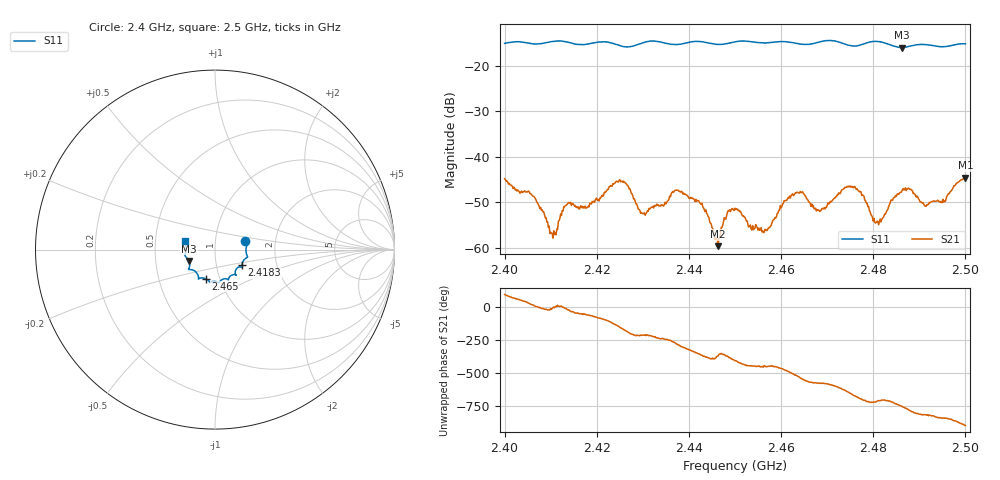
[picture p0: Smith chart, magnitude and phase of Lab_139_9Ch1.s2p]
# Hz S RI R 50
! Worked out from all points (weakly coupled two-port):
!   601 points, 2.4 GHz to 2.5 GHz, reference 50 ohm
!   highest |S21| = -44.62 dB at 2.5 GHz (marker M1); lowest = -59.7 dB at 2.4463 GHz (marker M2)
!   lowest |S11| = -16.0 dB at 2.4862 GHz (marker M3), VSWR 1.37, Z = 37.1 - j4.81 ohm
!   |S11| at or under -10 dB: start of sweep to end of sweep
!   S12 and S22 are empty: the file has one direction only
!   S11 on the Smith chart (normalised r, x): 2.4 GHz: 1.40, +0.13; 2.4183 GHz: 1.33, -0.24; 2.465 GHz: 0.86, -0.29; 2.5 GHz: 0.71, +0.07
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2.4e9  0.1691 0.0456  -0.000435 0.00569  0 0  0 0
2.406167e9  0.1729 0.00665  0.00355 0.000961  0 0  0 0
2.410333e9  0.1798 -0.0365  0.00141 -0.000218  0 0  0 0
2.413333e9  0.1768 -0.045  0.00285 -0.000597  0 0  0 0
2.416667e9  0.155 -0.0683  0.00167 -0.00221  0 0  0 0
2.418333e9  0.15 -0.087  0.00123 -0.00252  0 0  0 0
2.425333e9  0.131 -0.0974  -0.00502 -0.00177  0 0  0 0
2.43e9  0.1138 -0.1368  -0.00196 0.00131  0 0  0 0
2.433333e9  0.1169 -0.1412  -0.00158 0.0025  0 0  0 0
2.437333e9  0.087 -0.146  0.000926 0.0042  0 0  0 0
2.442e9  0.074 -0.1687  0.00329 0.000253  0 0  0 0
2.446333e9  0.0499 -0.1633  0.00102 -0.000207  0 0  0 0
2.45e9  0.0249 -0.1807  0.00178 -0.00205  0 0  0 0
2.456333e9  -0.00378 -0.1773  9.83e-05 -0.00148  0 0  0 0
2.465e9  -0.0529 -0.1621  -0.00373 0.00101  0 0  0 0
2.466667e9  -0.0715 -0.1575  -0.00251 0.00169  0 0  0 0
2.474833e9  -0.1004 -0.1326  0.00189 0.00426  0 0  0 0
2.480833e9  -0.1479 -0.1097  0.00195 8.51e-05  0 0  0 0
2.483333e9  -0.142 -0.096  0.00282 0.000158  0 0  0 0
2.486167e9  -0.1446 -0.0632  0.00339 -0.00235  0 0  0 0
2.4915e9  -0.1672 -0.0309  -0.000512 -0.00281  0 0  0 0
2.5e9  -0.1667 0.0474  -0.00588 0.000156  0 0  0 0
